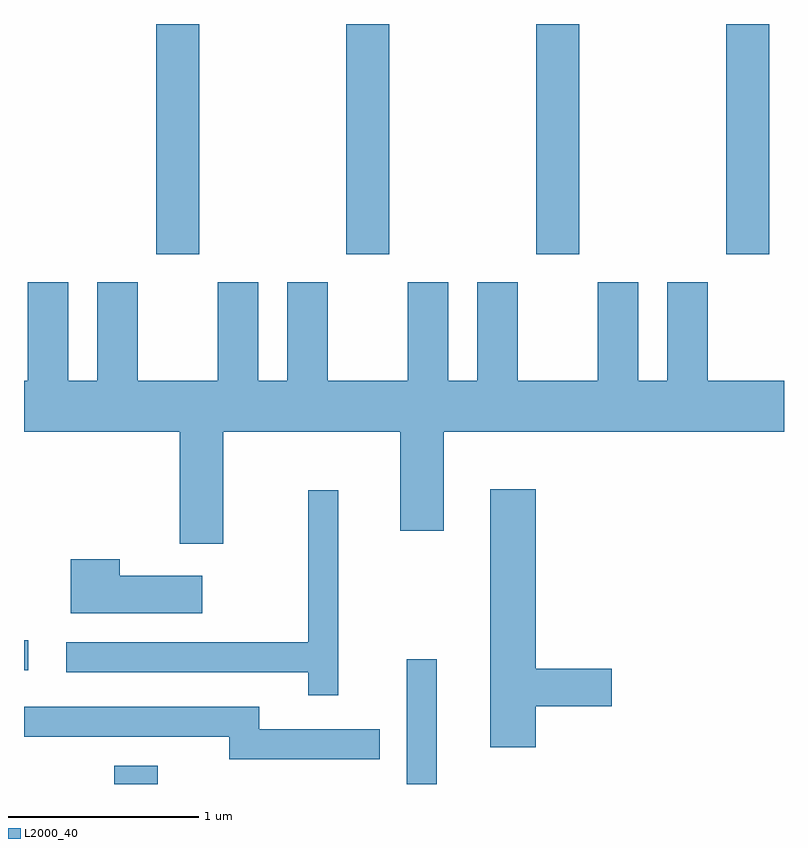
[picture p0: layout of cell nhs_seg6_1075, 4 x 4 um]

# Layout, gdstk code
import gdstk
lib = gdstk.Library(unit=1e-6, precision=1e-09)
def R(c, l, rs):  # rectangles x0, y0, x1, y1
    for r in rs: c.add(gdstk.rectangle(r[:2], r[2:], *l))
def A(c, l, x, y, w, h, nx, ny, dx, dy):  # array of equal rectangles
    R(c, l, [(x+i*dx, y+j*dy, x+i*dx+w, y+j*dy+h) for i in range(nx) for j in range(ny)])
def P(c, l, *ps):  # polygons
    for p in ps: c.add(gdstk.Polygon(p, *l))
L2000_40 = (2000, 40)

nhs_seg6_1075 = lib.new_cell('nhs_seg6_1075')
A(nhs_seg6_1075, L2000_40, 218.306, 1570.951, 0.228, 1.211, 4, 1, 1, 0)
R(nhs_seg6_1075, L2000_40, [(218.086,1568.162,218.314,1568.259), (219.626,1568.162,219.784,1568.818), (217.611,1568.761,217.633,1568.919)])
P(nhs_seg6_1075, L2000_40, [(218.659,1570.016),(219.591,1570.016),(219.591,1569.496),(219.819,1569.496),(219.819,1570.016),(221.611,1570.016),(221.611,1570.284),(221.209,1570.284),(221.209,1570.804),(220.996,1570.804),(220.996,1570.284),(220.844,1570.284),(220.844,1570.804),(220.631,1570.804),(220.631,1570.284),(220.209,1570.284),(220.209,1570.804),(219.996,1570.804),(219.996,1570.284),(219.844,1570.284),(219.844,1570.804),(219.631,1570.804),(219.631,1570.284),(219.209,1570.284),(219.209,1570.804),(218.996,1570.804),(218.996,1570.284),(218.844,1570.284),(218.844,1570.804),(218.631,1570.804),(218.631,1570.284),(218.209,1570.284),(218.209,1570.804),(217.996,1570.804),(217.996,1570.284),(217.844,1570.284),(217.844,1570.804),(217.631,1570.804),(217.631,1570.284),(217.611,1570.284),(217.611,1570.016),(218.431,1570.016),(218.431,1569.426),(218.659,1569.426)],
  [(220.304,1568.571),(220.704,1568.571),(220.704,1568.769),(220.304,1568.769),(220.304,1569.714),(220.066,1569.714),(220.066,1568.356),(220.304,1568.356)],
  [(219.264,1569.708),(219.106,1569.708),(219.106,1568.909),(217.833,1568.909),(217.833,1568.751),(219.106,1568.751),(219.106,1568.628),(219.264,1568.628)],
  [(218.549,1569.259),(218.114,1569.259),(218.114,1569.344),(217.856,1569.344),(217.856,1569.061),(218.549,1569.061)],
  [(219.483,1568.449),(218.849,1568.449),(218.849,1568.569),(217.611,1568.569),(217.611,1568.411),(218.691,1568.411),(218.691,1568.291),(219.483,1568.291)])

lib.write_gds('nhs_seg6_1075.gds')
